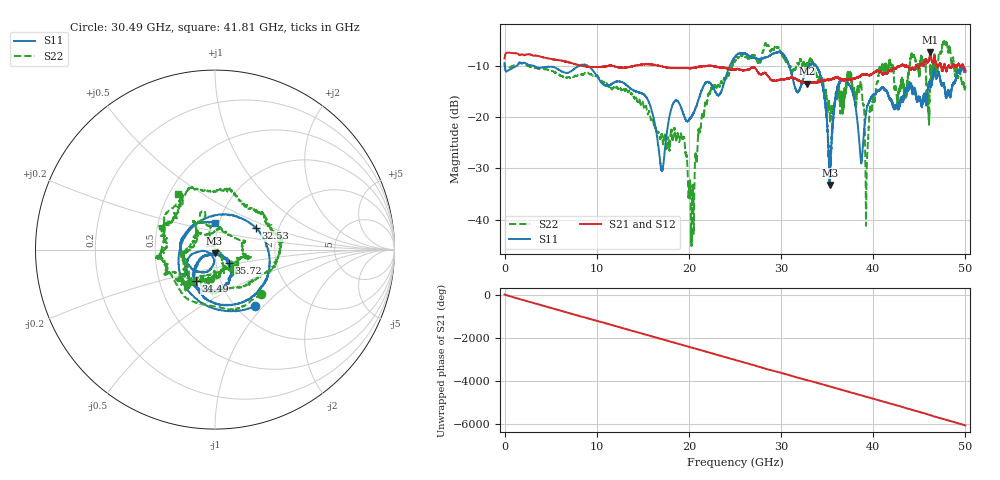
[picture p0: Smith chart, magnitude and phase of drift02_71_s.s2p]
!Created with skrf (http://scikit-rf.org).
# Hz S RI R 50.0
!freq ReS11 ImS11 ReS21 ImS21 ReS12 ImS12 ReS22 ImS22
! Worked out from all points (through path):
!   10001 points, 300 kHz to 50 GHz, reference 50 ohm
!   highest |S21| = -7.29 dB at 46.2 GHz (marker M1); lowest = -13.4 dB at 32.78 GHz (marker M2)
!   group delay of S21, straight-line fit = 335 ps
!   lowest |S11| = -33.2 dB at 35.28 GHz (marker M3), VSWR 1.04, Z = 49.7 - j2.16 ohm
!   |S11| at or under -10 dB: 3.227 GHz to 8.001 GHz (4.774 GHz wide, 85 % of centre); 9.106 GHz to 24.42 GHz (15.31 GHz wide, 91.3 % of centre); 33.83 GHz to 49.68 GHz (15.86 GHz wide, 38 % of centre) (the widest 3 of 8)
!   |S22| runs from -45.2 to -5.0 dB; largest |S21 - S12| = 0.014
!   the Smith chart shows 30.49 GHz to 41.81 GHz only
!   S11 on the Smith chart (normalised r, x): 30.49 GHz: 1.21, -0.89; 32.53 GHz: 1.53, +0.40; 34.49 GHz: 0.76, -0.28; 35.72 GHz: 1.15, -0.17; 41.81 GHz: 0.96, +0.29
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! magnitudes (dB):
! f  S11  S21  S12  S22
! 300 kHz  -9.4  -8.5  -8.4  -9.4
! 8.335 GHz  -9.7  -9.9  -9.9  -11.6
! 16.67 GHz  -25.6  -9.9  -9.9  -22.9
! 19.31 GHz  -18.9  -10.4  -10.3  -24.5
! 20.36 GHz  -19.5  -10.4  -10.3  -34.8
! 21.94 GHz  -13.1  -9.9  -9.9  -17.2
! 25 GHz  -8.2  -10.6  -10.6  -9.0
! 30.49 GHz  -8.3  -12.5  -12.4  -8.9
! 32.53 GHz  -11.7  -13.2  -13.3  -9.7
! 32.78 GHz  -10.7  -13.4  -13.4  -9.7
! 33.34 GHz  -9.5  -13.1  -13.2  -8.9
! 34.49 GHz  -13.7  -12.8  -12.8  -12.3
! 35.28 GHz  -33.2  -12.6  -12.6  -18.9
! 35.72 GHz  -19.4  -12.4  -12.3  -18.7
! 37.14 GHz  -12.9  -12.5  -12.4  -12.8
! 38.53 GHz  -25.7  -12.0  -12.0  -14.4
! 39.31 GHz  -18.2  -11.6  -11.6  -29.1
! 41.67 GHz  -15.9  -10.9  -11.0  -9.6
! 41.81 GHz  -16.6  -10.8  -10.9  -8.6
! 46.2 GHz  -13.8  -7.3  -7.1  -9.7
! 47.77 GHz  -14.4  -9.8  -9.7  -5.4
! 50 GHz  -11.2  -10.8  -10.7  -13.9
